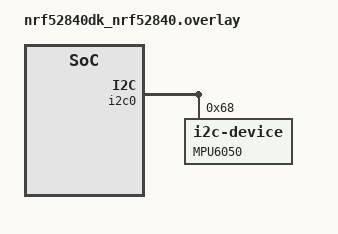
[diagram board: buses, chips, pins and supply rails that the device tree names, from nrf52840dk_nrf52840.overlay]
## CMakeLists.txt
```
# SPDX-License-Identifier: Apache-2.0

cmake_minimum_required(VERSION 3.20.0)
find_package(Zephyr REQUIRED HINTS $ENV{ZEPHYR_BASE})
project(wsnDrivers)

target_sources(app PRIVATE src/app_mpu6050.c)
target_include_directories(app PRIVATE src/app_mpu6050.h)

target_sources(app PRIVATE src/main.c)
```

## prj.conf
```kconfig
CONFIG_GPIO=y
CONFIG_I2C=y
CONFIG_CBPRINTF_FP_SUPPORT=y
CONFIG_SENSOR=y

# Bluetooth LE
CONFIG_BT=y
CONFIG_BT_DEVICE_NAME="nRF_BLE_Peripheral"
CONFIG_BT_PERIPHERAL=y

# Increase stack size for the main thread and System Workqueue
CONFIG_SYSTEM_WORKQUEUE_STACK_SIZE=2048
CONFIG_MAIN_STACK_SIZE=2048
```

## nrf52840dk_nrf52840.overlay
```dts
// To get started, press Ctrl+Space to bring up the completion menu and view the available nodes.

// You can also use the buttons in the sidebar to perform actions on nodes.
// Actions currently available include:

// * Enabling / disabling the node
// * Adding the bus to a bus
// * Removing the node
// * Connecting ADC channels

// For more help, browse the DeviceTree documentation at https://docs.zephyrproject.org/latest/guides/dts/index.html
// You can also visit the nRF DeviceTree extension documentation at https://docs.nordicsemi.com/bundle/nrf-connect-vscode/page/guides/ncs_configure_app.html#devicetree-support-in-the-extension

&i2c0 {
    
    mpu6050: mpu6050@68{
        compatible = "i2c-device";
        reg = <0x68>;
        label = "MPU6050";
    };
};
```

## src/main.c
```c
/**
 ******************************************************************************
 * @file           : main.c
 * @author         : LorisRT
 * @brief          : driver and sample developpement for nRF52840 with zephir
 ******************************************************************************
 * @attention
 *
 * This software is licensed under terms that can be found in the LICENSE file
 * in the root directory of this software component.
 * If no LICENSE file comes with this software, it is provided AS-IS.
 *
 ******************************************************************************
 */
/*
 Doc. for identifier: 
 https://stackoverflow.com/questions/75908381/cannot-get-device-binding-in-zephyr

 Doc for phandle (e.i.: property of node):
 https://docs.zephyrproject.org/latest/build/dts/phandles.html

 Doc. for function call:
 https://stackoverflow.com/questions/35186290/c-struct-object-stack-function-call-is-not-allowed-in-constant-expression-err

 Doc. for GPIO with devicetree:
 https://docs.nordicsemi.com/bundle/ncs-latest/page/zephyr/hardware/peripherals/gpio.html#structgpio__dt__spec

 Doc. for I2C example from Nordic artile:
 https://devzone.nordicsemi.com/guides/nrf-connect-sdk-guides/b/peripherals/posts/twi-ic2-implementation-with-nrfx-twis-driver
*/

#include <zephyr/kernel.h>
#include <zephyr/drivers/gpio.h>
#include <zephyr/sys/printk.h>
#include <hal/nrf_gpio.h>
#include <zephyr/drivers/i2c.h>

#include <zephyr/bluetooth/bluetooth.h>
#include <zephyr/bluetooth/gap.h>
#include <zephyr/bluetooth/uuid.h>

#include "app_mpu6050.h"

#define SUCCESS 0


/* CODE EXECUTION DEFINE VARIABLERS */
#define LAUNCH_CODE_DEVACADEMY_EXAMPLE_REQUIRED false
#define LAUNCH_CODE_WSN_0_EXAMPLE_REQUIRED false
#define LAUNCH_CODE_WSN_1_EXAMPLE_REQUIRED false
#define LAUNCH_CODE_WSN_2_EXAMPLE_REQUIRED false

#define LAUNCH_CODE_WSN_I2C_EXAMPLE_REQUIRED false
#define LAUNCH_CODE_I2C_FOR_MPU6050_REQUIRED false

#define LAUNCH_CODE_PUSH_BUTTON_AND_LED_POLLING_REQUIRED false

#define BLE_CODE_EXERCICE_2_REQUIRED false
#define BLE_CODE_EXERCICE_3_CONNECTABLE_ADVERTISING_REQUIRED true

#define END_MESSAGE_FOR_EXAMPLES "End of code reach successfully\n"
#define END_MESSAGE_UNEXPECTED_OUTPUT "Reached end return, unexpected error in code"


/* 1000 msec = 1 sec */
#define SLEEP_TIME_MS   1000
#define LIMIT_COUNT_BLINKING 1000



/* MPU6050 REGISTER DEFINITION */
#define MPU6050_WHO_AM_I_REG 0x75
#define MPU6050_PWR_MGMT_A_REG 0x6b
#define ACC_LSB 16384.0f /* [LSB/g] */
#define GRAVITY 9.80665f



/* Define for LAUNCH_CODE_WDN_0_EXAMPLE_REQUIRED */
#define P0_BASE_ADDRESS 0x50000000
#define GPIO_OUT_OFFSET_REG 0x504
#define GPIO_OUTSET_OFFSET_REG 0x508
#define GPIO_DIR_OFFSET_REG 0x514
#define GPIO_DIRSET_OFFSET_REG 0x518
#define CLOCK_BASE_ADDRESS 0x40000000
#define CLOCK_HFCLKSTAT_OFFSET_REG 0x40c
#define CLOCK_LFCLKSTAT_OFFSET_REG 0x418
volatile uint32_t *p_gpio_out_reg = (volatile uint32_t *) (P0_BASE_ADDRESS + GPIO_OUT_OFFSET_REG);
volatile uint32_t *p_gpio_outset_reg = (volatile uint32_t *) (P0_BASE_ADDRESS + GPIO_OUTSET_OFFSET_REG);
volatile uint32_t *p_gpio_dir_reg = (volatile uint32_t *) (P0_BASE_ADDRESS + GPIO_DIR_OFFSET_REG);
volatile uint32_t *p_gpio_dirset_reg = (volatile uint32_t *) (P0_BASE_ADDRESS + GPIO_DIRSET_OFFSET_REG);
volatile uint32_t *p_clk_hfclkstat = (volatile uint32_t *) (CLOCK_BASE_ADDRESS + CLOCK_HFCLKSTAT_OFFSET_REG);
volatile uint32_t *p_clk_lfclkstat = (volatile uint32_t *) (CLOCK_BASE_ADDRESS + CLOCK_LFCLKSTAT_OFFSET_REG);
#define GPIO_PIN_13_LED1 13


/* Define and data structure for BLE_CODE_EXERCICE_2_REQUIRED */
#define STRING_FOR_SCAN "TTT"
static struct bt_le_adv_param *adv_param =
	BT_LE_ADV_PARAM(BT_LE_ADV_OPT_NONE, /* No options specified */
					800, /* Min Advertising Interval 500ms (800*0.625ms) */
					801, /* Max Advertising Interval 500.625ms (801*0.625ms) */
					NULL); /* Set to NULL for undirected advertising */
#define COMPANY_ID_CODE 0x0101 // To ask Nathan if interesting
/* BLE_CODE_EXERCICE_2_REQUIRED: data structure for dynamically changing advertising data */
typedef struct adv_mfg_data {
	uint16_t company_code; /* Company Identifier Code. */
	uint16_t number_press; /* Number of times Button 1 is pressed */
} adv_mfg_data_type;

static adv_mfg_data_type adv_mfg_data = {COMPANY_ID_CODE, 0x00};

#define DEVICE_NAME CONFIG_BT_DEVICE_NAME
#define DEVICE_NAME_LEN (sizeof(DEVICE_NAME) - 1)
static const struct bt_data ad[] = {
	BT_DATA_BYTES(BT_DATA_FLAGS, BT_LE_AD_NO_BREDR),
	BT_DATA(BT_DATA_NAME_COMPLETE, DEVICE_NAME, DEVICE_NAME_LEN),
	/* STEP 3 - Include the Manufacturer Specific Data in the advertising packet. */
	BT_DATA(BT_DATA_MANUFACTURER_DATA, (unsigned char *)&adv_mfg_data, sizeof(adv_mfg_data)),
};
static const struct bt_data sd[] = {
	BT_DATA(BT_DATA_URI, STRING_FOR_SCAN, sizeof(STRING_FOR_SCAN)),
};
uint16_t button_counter = 0;


/* Define for LAUNCH_CODE_WSN_I2C_EXAMPLE_REQUIRED */
#define ERROR_MESSAGE_WRITE_FAIL_IN_I2C "Could not perform a I2C write for the LAUNCH_CODE_WSN_I2C_EXAMPLE"
#define I2C0_NODE DT_NODELABEL(mpu6050)
static const struct i2c_dt_spec i2c_device_mpu6050 = I2C_DT_SPEC_GET(I2C0_NODE);



/* Define for LAUNCH_CODE_WSN_2_EXAMPLE_REQUIRED */
// Doc: https://docs.nordicsemi.com/bundle/ncs-latest/page/zephyr/hardware/peripherals/gpio.html#group__gpio__interface_1ga2fa6bb5880f46984f9fc29c70f7d503e
#define LED0_DK DT_ALIAS(led0)
// - GPIO_DT_SPEC_GET is a static initialiser for a struct gpio_dt_spec:
// requires: node_id and property name (see dts file for gpio led0 node)
// - gpio_dt_spec is a container (struct in C) for GPIO pin information speficied in dt
static const struct gpio_dt_spec ledFromDK = GPIO_DT_SPEC_GET(LED0_DK, gpios);
#define LED_ON_DT 1



/* Define for LAUNCH_CODE_WSN_1_EXAMPLE_REQUIRED */
#define ERROR_MESSAGE_GPIO_CONFIG "Could not configure GPIO in LAUNCH_CODE_WSN1_EXAMPLE\n"
#define ERROR_MESSAGE_GPIO_SET "Could not set GPIO in LAUNCH_CODE_WSN1_EXAMPLE\n"
#define GPIO_NODE_ID DT_NODELABEL(gpio0)
#define GPIO_NAME DEVICE_DT_NAME(GPIO_NODE_ID)
#define LED1_ON 0
#define LED1_OFF 1
const struct device *gpio_led_wsn_1;



/* Define for LAUNCH_CODE_DEVACADEMY_EXAMPLE_REQUIRED */
/* The devicetree node identifier for the "led0" alias. */
#define LED0_NODE DT_ALIAS(led0)
/*
 * A build error on this line means your board is unsupported.
 * See the sample documentation for information on how to fix this.
 */
static const struct gpio_dt_spec led = GPIO_DT_SPEC_GET(LED0_NODE, gpios);



int main(void)
{
	/**
	 * First implementation for BLE from devAcademy
	 */
	if (BLE_CODE_EXERCICE_3_CONNECTABLE_ADVERTISING_REQUIRED){

	}
	if (BLE_CODE_EXERCICE_2_REQUIRED){
		int err;
		if (err = bt_enable(NULL)){
			printk(">ERROR: Could not initialise BLE");
			return 0;
		}
		if (err = bt_le_adv_start(adv_param, ad, ARRAY_SIZE(ad), sd, ARRAY_SIZE(sd))){
			printk(">ERROR: Could not sdet BLE advertising and scan messages");
			return 0;
		}
		while(true){
			adv_mfg_data.number_press += 1;
			bt_le_adv_update_data(ad, ARRAY_SIZE(ad), sd, ARRAY_SIZE(sd));
			k_msleep(SLEEP_TIME_MS);
		}
		return 0;
	}

	/* Toggle LED1 from DK if button 1 is pushed: polling */
	if (LAUNCH_CODE_PUSH_BUTTON_AND_LED_POLLING_REQUIRED){
		// TODO
	}

	/* Extract MPU6050 inertial data with i2c protocol */
	if (LAUNCH_CODE_I2C_FOR_MPU6050_REQUIRED){

		uint16_t acc_x_reg = 0;
		uint16_t acc_y_reg = 0;
		uint16_t acc_z_reg = 0;

		int16_t ax = 0;
		int16_t ay = 0;
		int16_t az = 0;

		if (MPU6050_SUCCESS !=  mpu6050_sanity_check(&i2c_device_mpu6050)){
			printk("MPU6050: sanity check fail\n");
			return 0;
		}
		printk("MPU6050: sanity check done\n");

		if (MPU6050_SUCCESS != mpu6050_sleep_control(&i2c_device_mpu6050, false)){
			printk("MPU6050: sleep disable failed\n");
			return 0;
		}
		printk("MPU6050: sleep disable done\n");
		
		printk("MPU6050: begining of data acquisition:\n");
		while(MPU6050_SUCCESS == mpu6050_get_accel(&i2c_device_mpu6050, &acc_x_reg, &acc_y_reg, &acc_z_reg)){
			// ax = (int16_t) ((((float) (acc_x_reg))/ACC_LSB)*GRAVITY);
			// ay = (int16_t) ((((float) (acc_y_reg))/ACC_LSB)*GRAVITY);
			// az = (int16_t) ((((float) (acc_z_reg))/ACC_LSB)*GRAVITY);
			printk("MPU6050: ACCEL = (X = %d, Y = %d, Z = %d)\n", ax, ay, az);
			k_msleep(SLEEP_TIME_MS);
		}
		
		/* shoudl not get here, otherwire error during data acquisition */
		printk("MPU6050: error during data collection\n");
		while(true);
	}

	/* First example of i2c use with nrf and zephyr functions */
	if (LAUNCH_CODE_WSN_I2C_EXAMPLE_REQUIRED){
		if (false == device_is_ready(i2c_device_mpu6050.bus)){
			printk("I2C device not ready\n");
			return 0;
		}

		uint8_t config[1] = {MPU6050_WHO_AM_I_REG};
		
		if (SUCCESS != i2c_write_dt(&i2c_device_mpu6050, config, sizeof(config))){
			printk(ERROR_MESSAGE_WRITE_FAIL_IN_I2C);
			return 0;
		}

		printk(END_MESSAGE_FOR_EXAMPLES);
		while(true);
	}

	/* LED1 from nRF52840 DK blinking example */
	if (LAUNCH_CODE_WSN_2_EXAMPLE_REQUIRED){
		if (false == gpio_is_ready_dt(&ledFromDK)){
			return 0;
		}
		if (SUCCESS != gpio_pin_configure_dt(&ledFromDK, GPIO_OUTPUT)){
			return 0;
		}
		// WARNING: LED ON from dt functions is set with 1 (not 0 as opposed to other example)
		if (SUCCESS != gpio_pin_set_dt(&ledFromDK, LED_ON_DT)){
			return 0;
		}
		printk(END_MESSAGE_FOR_EXAMPLES);
		while(true);
	}

	/* Original blinking LED example for nRF52840 DK */
	if (LAUNCH_CODE_DEVACADEMY_EXAMPLE_REQUIRED){
		int ret;
		int count = 0;

		if (!gpio_is_ready_dt(&led)) {
			return 0;
		}

		ret = gpio_pin_configure_dt(&led, GPIO_OUTPUT_ACTIVE);
		if (ret < 0) {
			return 0;
		}

		while (1) {
			ret = gpio_pin_toggle_dt(&led);
			if (ret < 0) {
				return 0;
			}
			k_msleep(SLEEP_TIME_MS);
			printk("Blink n°%d\n", ++count);
			if (count > LIMIT_COUNT_BLINKING){
				count = 0;
			}
		}
	}    

	/* LED1 from nRF52840 DK blinking example */
	if (LAUNCH_CODE_WSN_1_EXAMPLE_REQUIRED){
		//printk(GPIO_NAME);
		gpio_led_wsn_1 = device_get_binding(GPIO_NAME);
		if (SUCCESS != gpio_pin_configure(gpio_led_wsn_1, GPIO_PIN_13_LED1, GPIO_OUTPUT)){
			printk(ERROR_MESSAGE_GPIO_CONFIG);
			return 0;
		}
		if (SUCCESS != gpio_pin_set(gpio_led_wsn_1, GPIO_PIN_13_LED1, LED1_ON)){
			printk(ERROR_MESSAGE_GPIO_SET);
			return 0;
		}
		printk(END_MESSAGE_FOR_EXAMPLES);
		while(true);
	}

	/* Baremetal programming of LED1 blinking example */
	if (LAUNCH_CODE_WSN_0_EXAMPLE_REQUIRED){

		printk("Enters WSN_0 condition\n");

		/* Check CLK status */
		printk("HFCLKSTAT reg: 0x%08x\n", *p_clk_hfclkstat);
		printk("LFCLKSTAT reg: 0x%08x\n", *p_clk_lfclkstat);

		/* Configure GPIO */
		*p_gpio_dir_reg |= (1 << GPIO_PIN_13_LED1);
		*p_gpio_out_reg |= (0 << GPIO_PIN_13_LED1);
		printk("register gpio_dir_reg configured as: 0x%08x\n", *p_gpio_dir_reg);
		printk("register gpio_out_reg configured as: 0x%08x\n", *p_gpio_out_reg);

		while(true);
	}

	/* Should never reach here */
	printk(END_MESSAGE_UNEXPECTED_OUTPUT);
	return 0;
}
```

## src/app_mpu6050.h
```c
#ifndef APP_MPU6050_H_
#define APP_MPU6050_H_

#include <zephyr/kernel.h>
#include <zephyr/drivers/gpio.h>
#include <zephyr/sys/printk.h>
#include <hal/nrf_gpio.h>
#include <zephyr/drivers/i2c.h>

#define SUCCESS 0
#define MPU6050_WHO_AM_I_REG 0x75
#define MPU6050_PWR_MGMT_1_REG 0x6b
#define MPU6050_ACCEL_XOUT_H 0x3b

#define SIZE_OF_CONFIG_ARRAY_FOR_WRITE_READ 2
#define SIZE_OF_ACCEL_OUT_REG_FOR_BURST_READ 6

typedef enum {
    MPU6050_SUCCESS,
    MPU6050_DEVICE_NOT_READY,
    MPU6050_CHECK_SANITY_ERROR,
    MPU6050_READ_ERROR,
    MPU6050_WRITE_ERROR,
    MPU6050_UNEXPECTED_ERROR
} MPU6050_STATUS_e;

/* Function prototype */
MPU6050_STATUS_e mpu6050_sanity_check(const struct i2c_dt_spec *);
MPU6050_STATUS_e mpu6050_sleep_control(const struct i2c_dt_spec *, bool);
MPU6050_STATUS_e mpu6050_get_accel(const struct i2c_dt_spec *, uint16_t *, uint16_t *, uint16_t *);

#endif 
```
